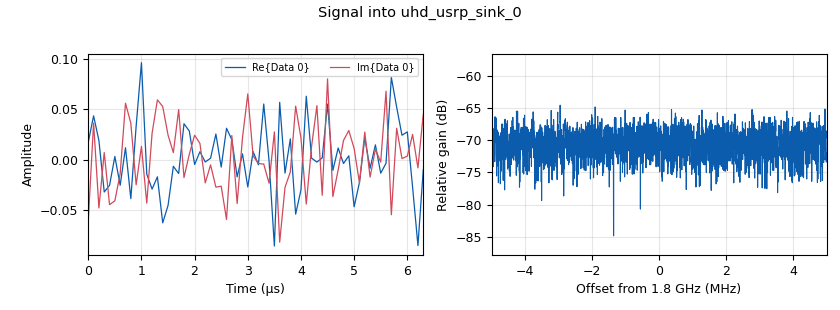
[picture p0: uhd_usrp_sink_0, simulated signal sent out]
options:
  parameters:
    author: Jonas Augusto Kunzler
    generate_options: qt_gui
    id: freq_selector_barrage_jammer
    output_language: python
    title: Barrage Jammer with Frequency Selection
  states: {}

blocks:
- name: freq_selector
  id: variable_qtgui_range
  parameters:
    label: Frequency Selector
    start: 1.5e9
    step: 1e7
    stop: 2.1e9
    value: 1.8e9
  states: {}
- name: samp_rate
  id: variable
  parameters:
    value: 10e6
  states: {}
- name: analog_noise_source_x_0
  id: analog_noise_source_x
  parameters:
    amp: '0.05'
    noise_type: analog.GR_GAUSSIAN
    seed: '0'
    type: complex
  states: {}
- name: uhd_usrp_sink_0
  id: uhd_usrp_sink
  parameters:
    ant0: '"TX/RX"'
    bw0: samp_rate
    center_freq0: freq_selector
    clock_rate: '0.0'
    dev_addr: '"addr=192.168.10.2"'
    dev_args: '""'
    gain0: '1'
    gain_type0: normalized
    len_tag_name: ''
    samp_rate: samp_rate
    sd_spec0: A:0
    sync: pc_clock
    type: fc32
  states: {}

connections:
- [analog_noise_source_x_0, '0', uhd_usrp_sink_0, '0']

metadata:
  file_format: 1
  grc_version: 3.10.12.0
